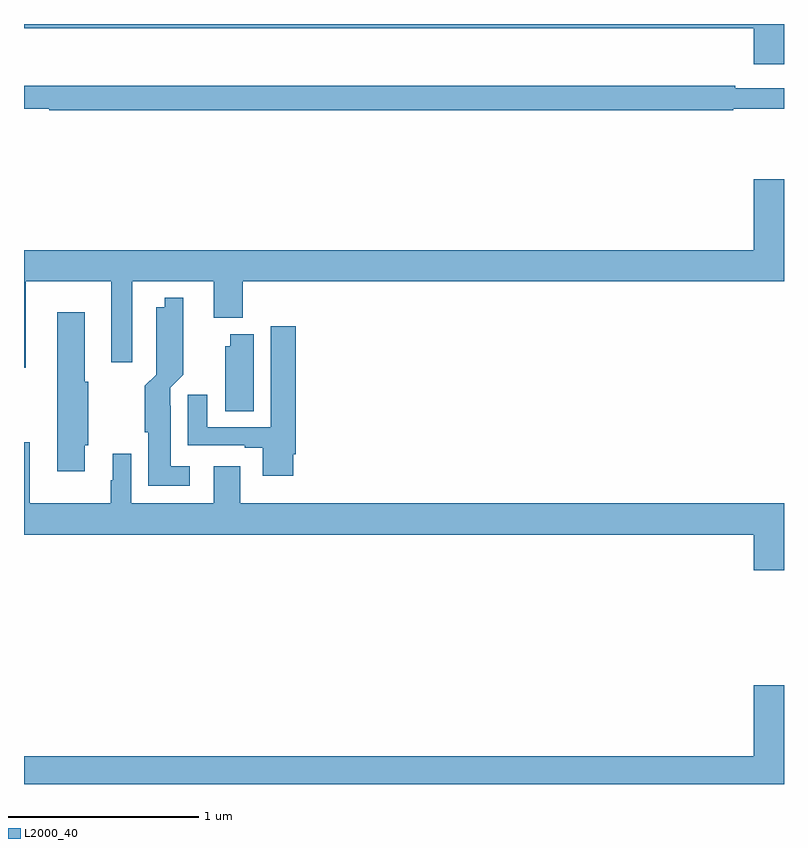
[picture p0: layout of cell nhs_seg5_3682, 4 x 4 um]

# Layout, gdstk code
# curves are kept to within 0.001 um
import gdstk
lib = gdstk.Library(unit=1e-6, precision=1e-09)
def P(c, l, *ps):  # polygons
    for p in ps: c.add(gdstk.Polygon(p, *l))
L2000_40 = (2000, 40)

nhs_seg5_3682 = lib.new_cell('nhs_seg5_3682')
P(nhs_seg5_3682, L2000_40, [(333,840.799),(329,840.799),(329,840.776),(332.84,840.776),(332.84,840.588),(333,840.588)],
  [(332.734,840.354),(333,840.354),(333,840.462),(332.744,840.462),(332.744,840.475),(329,840.475),(329,840.354),(329.134,840.354),(329.134,840.346),(332.734,840.346)],
  [(329.008,839.444),(329.459,839.444),(329.459,839.019),(329.569,839.019),(329.569,839.444),(329.999,839.444),(329.999,839.252),(330.152,839.252),(330.152,839.444),(333,839.444),(333,839.983),(332.84,839.983),(332.84,839.608),(329,839.608),(329,838.989),(329.008,838.989)],
  [(329.872,838.471),(329.773,838.471),(329.773,838.79),(329.769,838.79),(329.769,838.884),(329.839,838.954),(329.838,839.359),(329.741,839.359),(329.741,839.308),(329.696,839.308),(329.696,838.954),(329.636,838.895),(329.636,838.65),(329.654,838.65),(329.654,838.37),(329.872,838.37)],
  [(329.32,838.581),(329.338,838.581),(329.338,838.917),(329.32,838.917),(329.32,839.281),(329.174,839.281),(329.174,838.446),(329.32,838.446)],
  [(330.418,838.534),(330.431,838.534),(330.431,839.209),(330.299,839.209),(330.299,838.677),(329.965,838.677),(329.965,838.849),(329.861,838.849),(329.861,838.581),(330.161,838.581),(330.161,838.569),(330.257,838.569),(330.257,838.422),(330.418,838.422)],
  [(330.208,839.167),(330.086,839.167),(330.086,839.103),(330.059,839.103),(330.059,838.762),(330.208,838.762)],
  [(333,838.276),(330.139,838.276),(330.139,838.471),(329.999,838.471),(329.999,838.276),(329.565,838.276),(329.565,838.537),(329.468,838.537),(329.468,838.398),(329.457,838.398),(329.457,838.276),(329.029,838.276),(329.029,838.597),(329,838.597),(329,838.112),(332.84,838.112),(332.84,837.924),(333,837.924)],
  [(333,837.319),(332.84,837.319),(332.84,836.944),(329,836.944),(329,836.799),(333,836.799)])

lib.write_gds('nhs_seg5_3682.gds')
